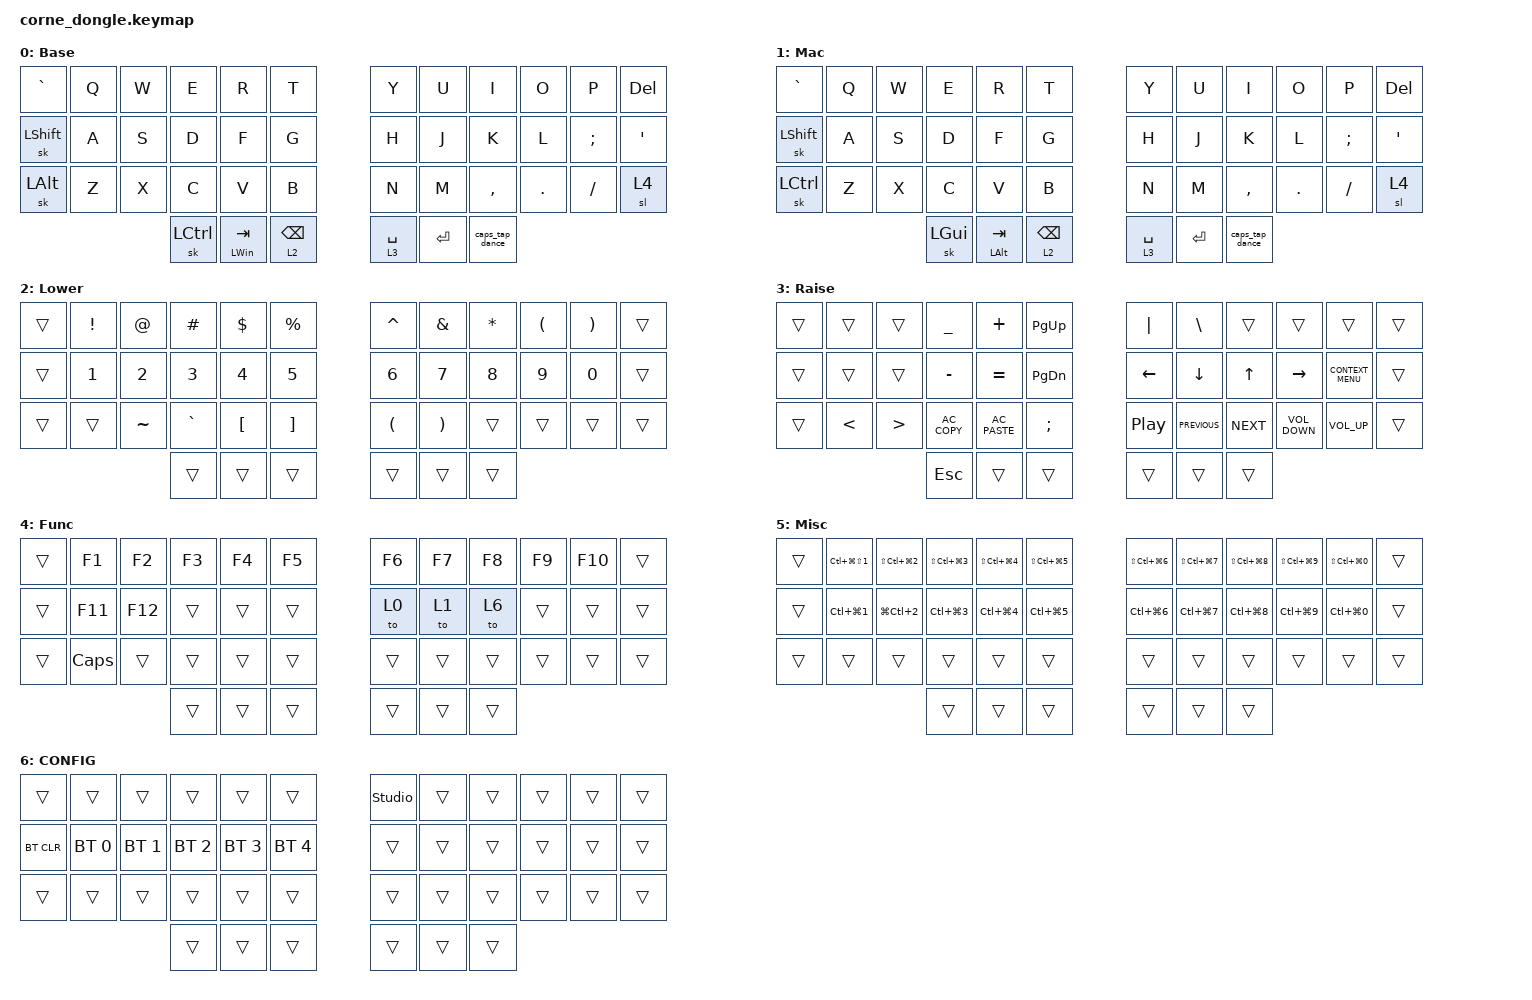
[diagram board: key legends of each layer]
/*
 * Copyright (c) 2020 The ZMK Contributors
 *
 * SPDX-License-Identifier: MIT
 */

#include <behaviors.dtsi>
#include <dt-bindings/zmk/bt.h>
#include <dt-bindings/zmk/keys.h>

&lt { quick-tap-ms = <200>; };

/ {
    combos {
        compatible = "zmk,combos";

        escape {
            bindings = <&kp ESC>;
            key-positions = <19 20>;
            layers = <0 1>;
        };
    };

    behaviors {
        caps_tap_dance: caps_tap_dance {
            compatible = "zmk,behavior-tap-dance";
            label = "CAPS_TAP_DANCE";
            #binding-cells = <0>;
            bindings = <&sk RIGHT_SHIFT>, <&caps_word>;
        };
    };

    keymap {
        compatible = "zmk,keymap";
        BASE {
	    display-name = "Base";
            bindings = <
&kp GRAVE       &kp Q  &kp W  &kp E             &kp R             &kp T              &kp Y        &kp U      &kp I            &kp O    &kp P          &kp DELETE
&sk LEFT_SHIFT  &kp A  &kp S  &kp D             &kp F             &kp G              &kp H        &kp J      &kp K            &kp L    &kp SEMICOLON  &kp APOS
&sk LEFT_ALT    &kp Z  &kp X  &kp C             &kp V             &kp B              &kp N        &kp M      &kp COMMA        &kp DOT  &kp FSLH       &sl 4
                              &sk LEFT_CONTROL  &mt LEFT_WIN TAB  &lt 2 BACKSPACE    &lt 3 SPACE  &kp ENTER  &caps_tap_dance
            >;

            label = "BASE";
        };

        MAC {
	    display-name = "Mac";
            label = "MAC";
            bindings = <
&kp GRAVE         &kp Q  &kp W  &kp E         &kp R             &kp T              &kp Y        &kp U      &kp I            &kp O    &kp P          &kp DELETE
&sk LEFT_SHIFT    &kp A  &kp S  &kp D         &kp F             &kp G              &kp H        &kp J      &kp K            &kp L    &kp SEMICOLON  &kp APOS
&sk LEFT_CONTROL  &kp Z  &kp X  &kp C         &kp V             &kp B              &kp N        &kp M      &kp COMMA        &kp DOT  &kp FSLH       &sl 4
                                &sk LEFT_GUI  &mt LEFT_ALT TAB  &lt 2 BACKSPACE    &lt 3 SPACE  &kp ENTER  &caps_tap_dance
            >;
        };

        LOWER {
	    display-name = "Lower";
            bindings = <
&trans  &kp EXCL  &kp AT     &kp HASH   &kp DOLLAR        &kp PERCENT          &kp CARET             &kp AMPERSAND          &kp ASTRK  &kp LEFT_PARENTHESIS  &kp RIGHT_PARENTHESIS  &trans
&trans  &kp N1    &kp N2     &kp N3     &kp N4            &kp N5               &kp N6                &kp N7                 &kp N8     &kp N9                &kp N0                 &trans
&trans  &trans    &kp TILDE  &kp GRAVE  &kp LEFT_BRACKET  &kp RIGHT_BRACKET    &kp LEFT_PARENTHESIS  &kp RIGHT_PARENTHESIS  &trans     &trans                &trans                 &trans
                             &trans     &trans            &trans               &trans                &trans                 &trans
            >;

            label = "LOWER";
        };

        RAISE {
	    display-name = "Raise";
            bindings = <
&trans  &trans         &trans            &kp UNDER      &kp PLUS        &kp PAGE_UP      &kp PIPE          &kp BACKSLASH   &trans        &trans             &trans              &trans
&trans  &trans         &trans            &kp MINUS      &kp EQUAL       &kp PAGE_DOWN    &kp LEFT          &kp DOWN        &kp UP_ARROW  &kp RIGHT          &kp K_CONTEXT_MENU  &trans
&trans  &kp LESS_THAN  &kp GREATER_THAN  &kp C_AC_COPY  &kp C_AC_PASTE  &kp SEMI         &kp C_PLAY_PAUSE  &kp C_PREVIOUS  &kp C_NEXT    &kp C_VOLUME_DOWN  &kp C_VOLUME_UP     &trans
                                         &kp ESC        &trans          &trans           &trans            &trans          &trans
            >;

            label = "RAISE";
        };

        FUNC {
	    display-name = "Func";
            bindings = <
&trans  &kp F1    &kp F2   &kp F3  &kp F4  &kp F5    &kp F6  &kp F7  &kp F8  &kp F9  &kp F10  &trans
&trans  &kp F11   &kp F12  &trans  &trans  &trans    &to 0   &to 1   &to 6   &trans  &trans   &trans
&trans  &kp CAPS  &trans   &trans  &trans  &trans    &trans  &trans  &trans  &trans  &trans   &trans
                           &trans  &trans  &trans    &trans  &trans  &trans
            >;

            label = "FUNC";
        };

        MISC {
	    display-name = "Misc";
            bindings = <
&trans  &kp LC(LG(LS(N1)))    &kp LS(LC(LG(N2)))  &kp LS(LC(LG(N3)))  &kp LS(LC(LG(N4)))  &kp LS(LC(LG(N5)))    &kp LS(LC(LG(N6)))  &kp LS(LC(LG(N7)))  &kp LS(LC(LG(N8)))  &kp LS(LC(LG(N9)))  &kp LS(LC(LG(N0)))  &trans
&trans  &kp LC(LG(NUMBER_1))  &kp LG(LC(N2))      &kp LC(LG(N3))      &kp LC(LG(N4))      &kp LC(LG(N5))        &kp LC(LG(N6))      &kp LC(LG(N7))      &kp LC(LG(N8))      &kp LC(LG(N9))      &kp LC(LG(N0))      &trans
&trans  &trans                &trans              &trans              &trans              &trans                &trans              &trans              &trans              &trans              &trans              &trans
                                                  &trans              &trans              &trans                &trans              &trans              &trans
            >;

            label = "MISC";
        };

        CONFIG {
	    display-name = "CONFIG";
            bindings = <
&trans      &trans        &trans        &trans        &trans        &trans          &studio_unlock  &trans  &trans  &trans  &trans  &trans
&bt BT_CLR  &bt BT_SEL 0  &bt BT_SEL 1  &bt BT_SEL 2  &bt BT_SEL 3  &bt BT_SEL 4    &trans          &trans  &trans  &trans  &trans  &trans
&trans      &trans        &trans        &trans        &trans        &trans          &trans          &trans  &trans  &trans  &trans  &trans
                                        &trans        &trans        &trans          &trans          &trans  &trans
            >;

            label = "CONFIG";
        };
    };

    conditional_layers {
        compatible = "zmk,conditional-layers";

        MISC {
            if-layers = <3 2>;
            then-layer = <5>;
        };
    };
};
